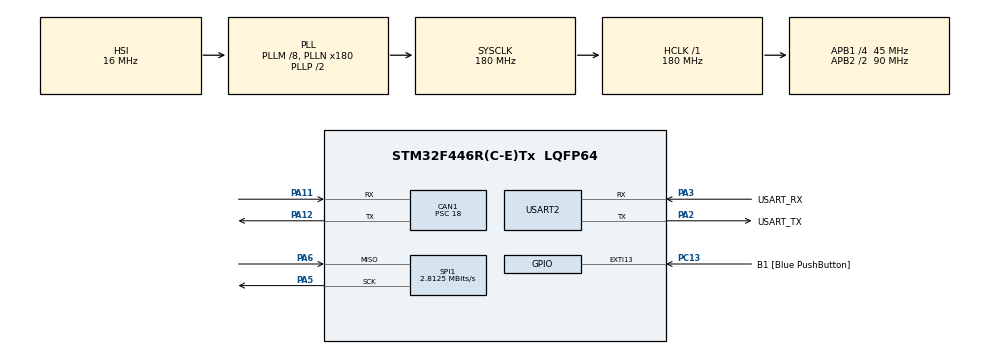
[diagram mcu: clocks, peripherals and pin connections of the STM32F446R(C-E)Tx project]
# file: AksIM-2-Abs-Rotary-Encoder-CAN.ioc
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CAN1.BS1=CAN_BS1_2TQ
CAN1.BS2=CAN_BS2_2TQ
CAN1.CalculateBaudRate=500000
CAN1.CalculateTimeBit=2000
CAN1.CalculateTimeQuantum=400.0
CAN1.Prescaler=18
Mcu.Family=STM32F4
Mcu.Name=STM32F446R(C-E)Tx
Mcu.Package=LQFP64
NVIC.CAN1_RX0_IRQn=true\:0\:0\:false\:false\:true\:true\:true
NVIC.PriorityGroup=NVIC_PRIORITYGROUP_0
NVIC.SPI1_IRQn=true\:0\:0\:false\:false\:true\:true\:true
NVIC.TIM2_IRQn=true\:0\:0\:false\:false\:true\:true\:true
NVIC.TIM3_IRQn=true\:0\:0\:false\:false\:true\:true\:true
NVIC.USART2_IRQn=true\:0\:0\:false\:false\:true\:true\:true
PA11.Mode=CAN_Activate
PA11.Signal=CAN1_RX
PA12.Mode=CAN_Activate
PA12.Signal=CAN1_TX
PA13.GPIO_Label=TMS
PA13.Signal=SYS_JTMS-SWDIO
PA14.GPIO_Label=TCK
PA14.Signal=SYS_JTCK-SWCLK
PA2.GPIO_Label=USART_TX
PA2.Mode=Asynchronous
PA2.Signal=USART2_TX
PA3.GPIO_Label=USART_RX
PA3.Mode=Asynchronous
PA3.Signal=USART2_RX
PA5.Mode=RX_Only_Simplex_Unidirect_Master
PA5.Signal=SPI1_SCK
PA6.Mode=RX_Only_Simplex_Unidirect_Master
PA6.Signal=SPI1_MISO
PB3.GPIO_Label=SWO
PB3.Signal=SYS_JTDO-SWO
PC13.GPIO_Label=B1 [Blue PushButton]
PC13.GPIO_ModeDefaultEXTI=GPIO_MODE_IT_FALLING
PC13.Signal=GPXTI13
PC14-OSC32_IN.Signal=RCC_OSC32_IN
PC15-OSC32_OUT.Signal=RCC_OSC32_OUT
PH0-OSC_IN.Signal=RCC_OSC_IN
PH1-OSC_OUT.Signal=RCC_OSC_OUT
ProjectManager.HeapSize=0x200
ProjectManager.StackSize=0x400
ProjectManager.TargetToolchain=Makefile
RCC.AHBFreq_Value=180000000
RCC.APB1CLKDivider=RCC_HCLK_DIV4
RCC.APB1Freq_Value=45000000
RCC.APB1TimFreq_Value=90000000
RCC.APB2CLKDivider=RCC_HCLK_DIV2
RCC.APB2Freq_Value=90000000
RCC.APB2TimFreq_Value=180000000
RCC.CortexFreq_Value=180000000
RCC.FLatency-AdvancedSettings=FLASH_LATENCY_5
RCC.HCLKFreq_Value=180000000
RCC.HSE_VALUE=8000000
RCC.HSI_VALUE=16000000
RCC.LSE_VALUE=32768
RCC.PLLM=8
RCC.PLLN=180
RCC.SYSCLKFreq_VALUE=180000000
RCC.SYSCLKSource=RCC_SYSCLKSOURCE_PLLCLK
RCC.USBFreq_Value=180000000
RCC.VCOOutputFreq_Value=360000000
SPI1.BaudRatePrescaler=SPI_BAUDRATEPRESCALER_32
SPI1.CLKPhase=SPI_PHASE_2EDGE
SPI1.CLKPolarity=SPI_POLARITY_HIGH
SPI1.CalculateBaudRate=2.8125 MBits/s
SPI1.Direction=SPI_DIRECTION_2LINES_RXONLY
SPI1.Mode=SPI_MODE_MASTER
SPI1.VirtualType=VM_MASTER
TIM2.Period=200-1
TIM2.Prescaler=8000-1
TIM3.Period=5000-1
TIM3.Prescaler=9000-1
USART2.Parity=PARITY_EVEN
USART2.VirtualMode=VM_ASYNC
VP_TIM2_VS_ClockSourceINT.Mode=Internal
VP_TIM3_VS_ClockSourceINT.Mode=Internal
board=NUCLEO-F446RE

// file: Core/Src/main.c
/* USER CODE BEGIN Header */
/**
  ******************************************************************************
  * @file           : main.c
  * @brief          : Main program body
  ******************************************************************************
  * @attention
  *
  * Copyright (c) 2023 STMicroelectronics.
  * All rights reserved.
  *
  * This software is licensed under terms that can be found in the LICENSE file
  * in the root directory of this software component.
  * If no LICENSE file comes with this software, it is provided AS-IS.
  *
  ******************************************************************************
  */
/* USER CODE END Header */
#include "main.h"

/* USER CODE BEGIN Includes */
#include <stdio.h>
/* USER CODE END Includes */

CAN_HandleTypeDef hcan1;

SPI_HandleTypeDef hspi1;

TIM_HandleTypeDef htim2;
TIM_HandleTypeDef htim3;

UART_HandleTypeDef huart2;

void SystemClock_Config(void);
static void MX_GPIO_Init(void);
static void MX_SPI1_Init(void);
static void MX_USART2_UART_Init(void);
static void MX_TIM2_Init(void);
static void MX_CAN1_Init(void);
static void MX_TIM3_Init(void);

/* USER CODE BEGIN 0 */
// CAN
CAN_TxHeaderTypeDef TxHeader;
CAN_RxHeaderTypeDef RxHeader;

uint8_t TxDataCAN[8];
uint8_t RxDataCAN[8];

uint32_t TxMailbox;

// UART buffer
uint8_t buffer[50];

// Encoder
#define ENCODER_POS_LENGTH 18
#define RX_DATA_LENGTH 7
uint8_t RxData[RX_DATA_LENGTH];
uint8_t printBits = 0;
uint32_t encPosition = 0;
uint8_t encStatus = 0;
uint8_t encCRC = 0;
uint32_t CRCMessage;

uint8_t CRCErrorCount = 0;

uint8_t CRCTable[64] = { 0x00, 0x03, 0x06, 0x05, 0x0C, 0x0F, 0x0A, 0x09,
                            0x18, 0x1B, 0x1E, 0x1D, 0x14, 0x17, 0x12, 0x11,
                            0x30, 0x33, 0x36, 0x35, 0x3C, 0x3F, 0x3A, 0x39,
                            0x28, 0x2B, 0x2E, 0x2D, 0x24, 0x27, 0x22, 0x21,
                            0x23, 0x20, 0x25, 0x26, 0x2F, 0x2C, 0x29, 0x2A,
                            0x3B, 0x38, 0x3D, 0x3E, 0x37, 0x34, 0x31, 0x32,
                            0x13, 0x10, 0x15, 0x16, 0x1F, 0x1C, 0x19, 0x1A,
                            0x0B, 0x08, 0x0D, 0x0E, 0x07, 0x04, 0x01, 0x02
                            };

uint8_t calculateCRC(uint32_t data)
{
    uint8_t CRCValue = 0;
    uint32_t top = 0;

    // Unrolled version from RLS application note
    top = (data >> 30) & 0x00000003;
    CRCValue = (data >> 24) & 0x0000003F;
    top = CRCValue ^ CRCTable[top];
    CRCValue = (data >> 18) & 0x0000003F;
    top = CRCValue ^ CRCTable[top];
    CRCValue = (data >> 12) & 0x0000003F;
    top = CRCValue ^ CRCTable[top];
    CRCValue = (data >> 6) & 0x0000003F;
    top = CRCValue ^ CRCTable[top];
    CRCValue = data & 0x0000003F;
    top = CRCValue ^ CRCTable[top];
    CRCValue = CRCTable[top];

    return CRCTable[top];
}

void HAL_SPI_RxCpltCallback(SPI_HandleTypeDef *hspi)
{
  // Position data is stored in RxData indices 3-5, MSB first
  // The >> 6 (or - 6 for the <<'s) is to compensate for the result being aligned to bit 23 instead of bit 17
  // The + 1 accommodates for the data being shifted in the individual packets
  // This is an 18-bit encoder, so it should output values in [0, 2^18 - 1]
  encPosition = ((uint32_t) RxData[3]) << (16 + 1 - 6);
  encPosition += ((uint32_t) RxData[4]) << (8 + 1 - 6);
  // LSBs of position are stored in the upper three bits of RxData[5], so we mask out everything else
  encPosition += (RxData[5] & 0xE0) >> 5;

  encStatus = (RxData[5] & 0x18) >> 3;

  encCRC = (RxData[5] & 0x07) << 3;
  encCRC += (RxData[6] & 0xE0) >> 5;

  CRCMessage = (uint32_t)(encStatus) << 28;
  CRCMessage += encPosition;
  CRCMessage <<= 2;

  sprintf(buffer, "%0X %d 0x%02X 0x%0X %s %d\n", encPosition, encStatus, encCRC, calculateCRC(CRCMessage), (calculateCRC(CRCMessage) == encCRC) ? "CRC MATCHED" : "CRC MISMATCH", CRCErrorCount);
  if(HAL_UART_Transmit(&huart2, buffer, sizeof(buffer), 100) != HAL_OK)
  {
    Error_Handler();
  }
  if(printBits)
    {
      for(int i = 0; i < RX_DATA_LENGTH; i++)
      {
        // Print each bit of message received
        uint8_t mask = 0x80;
        for(int j = 0; j < 8; j++)
        {
          if(RxData[i] & mask)
          {
            if(HAL_UART_Transmit(&huart2, "1", 2, 100) != HAL_OK)
            {
              Error_Handler();
            }
          }
          else
          {
            if(HAL_UART_Transmit(&huart2, "0", 2, 100) != HAL_OK)
            {
              Error_Handler();
            }
          }

          // Space into groups of 4 bits
          if(j % 4 == 3)
          {
            if(HAL_UART_Transmit(&huart2, " ", 2, 100) != HAL_OK)
            {
              Error_Handler();
            }
          }

          mask = mask >> 1;
        }

        if(HAL_UART_Transmit(&huart2, " | ", 4, 100) != HAL_OK)
        {
          Error_Handler();
        }
      }

      if(HAL_UART_Transmit(&huart2, "\n", 2, 100) != HAL_OK)
      {
        Error_Handler();
      }
    }
}

void HAL_CAN_RxFifo0MsgPendingCallback(CAN_HandleTypeDef *hcan)
{
  HAL_CAN_GetRxMessage(&hcan1, CAN_RX_FIFO0, &RxHeader, RxDataCAN);
  if(RxHeader.DLC == 4)
  {
    uint32_t positionRx = 0;
    uint8_t crcPassed = 0;

    // Upper nibble contains CRC flag, so we mask it out
    positionRx = ((uint32_t) (RxDataCAN[0]) & 0x0F) << 16;
    positionRx += ((uint32_t) RxDataCAN[1]) << 8;
    positionRx += RxDataCAN[2];

    crcPassed = RxDataCAN[0] & 0x10;

    // sprintf(buffer, "Message from other MCU: %d %d %d\n", RxDataCAN[0], RxDataCAN[1], RxDataCAN[2]);
    sprintf(buffer, "%d degrees (%d) %s (%d total)\n", (positionRx * 360) / 262144, positionRx, crcPassed ? "Data OK" : "Data invalid!", RxDataCAN[3]);
    if(HAL_UART_Transmit(&huart2, buffer, sizeof(buffer), 100) != HAL_OK)
    {
      Error_Handler();
    }
  }
}

void HAL_TIM_PeriodElapsedCallback(TIM_HandleTypeDef *htim)
{
  if(htim == &htim2)
  {
      HAL_SPI_Receive_IT(&hspi1, &RxData[0], RX_DATA_LENGTH);
  }
  else if(htim == &htim3)
  {
      // Split encoder position into discrete bytes
      TxDataCAN[0] = (encPosition >> 16) & 0x0003;
      TxDataCAN[1] = (encPosition >> 8) & 0x00FF;
      TxDataCAN[2] = encPosition & 0x00FF;

      // CRC check passed?
      if(calculateCRC(CRCMessage) == encCRC)
      {
        TxDataCAN[0] |= 0x10;
      }
      else
      {
        TxDataCAN[0] &= ~(0x10);
        CRCErrorCount++;
      }

      TxDataCAN[3] = CRCErrorCount;

      HAL_CAN_AddTxMessage(&hcan1, &TxHeader, TxDataCAN, &TxMailbox);
  }
}

/* USER CODE END 0 */

int main(void)
{

  /* MCU Configuration--------------------------------------------------------*/

  /* Reset of all peripherals, Initializes the Flash interface and the Systick. */
  HAL_Init();

  /* Configure the system clock */
  SystemClock_Config();

  /* Initialize all configured peripherals */
  MX_GPIO_Init();
  MX_SPI1_Init();
  MX_USART2_UART_Init();
  MX_TIM2_Init();
  MX_CAN1_Init();
  MX_TIM3_Init();
  /* USER CODE BEGIN 2 */

  HAL_TIM_Base_Start_IT(&htim2);
  HAL_TIM_Base_Start_IT(&htim3);

  HAL_CAN_Start(&hcan1);
  HAL_CAN_ActivateNotification(&hcan1, CAN_IT_RX_FIFO0_MSG_PENDING);

  // 2 bytes
  TxHeader.DLC = 4;
  TxHeader.IDE = CAN_ID_STD;  // Standard CAN ID
  TxHeader.RTR = CAN_RTR_DATA;  // Specify that the packet contains data
  // TxHeader.StdId = 0x103; // ID of transmitter
  TxHeader.StdId = 0x446; // ID of transmitter
  /* USER CODE END 2 */

  /* Infinite loop */
  while (1)
  {

  }
}

void SystemClock_Config(void)
{
  RCC_OscInitTypeDef RCC_OscInitStruct = {0};
  RCC_ClkInitTypeDef RCC_ClkInitStruct = {0};

  /** Configure the main internal regulator output voltage
  */
  __HAL_RCC_PWR_CLK_ENABLE();
  __HAL_PWR_VOLTAGESCALING_CONFIG(PWR_REGULATOR_VOLTAGE_SCALE1);
  /** Initializes the RCC Oscillators according to the specified parameters
  * in the RCC_OscInitTypeDef structure.
  */
  RCC_OscInitStruct.OscillatorType = RCC_OSCILLATORTYPE_HSI;
  RCC_OscInitStruct.HSIState = RCC_HSI_ON;
  RCC_OscInitStruct.HSICalibrationValue = RCC_HSICALIBRATION_DEFAULT;
  RCC_OscInitStruct.PLL.PLLState = RCC_PLL_ON;
  RCC_OscInitStruct.PLL.PLLSource = RCC_PLLSOURCE_HSI;
  RCC_OscInitStruct.PLL.PLLM = 8;
  RCC_OscInitStruct.PLL.PLLN = 180;
  RCC_OscInitStruct.PLL.PLLP = RCC_PLLP_DIV2;
  RCC_OscInitStruct.PLL.PLLQ = 2;
  RCC_OscInitStruct.PLL.PLLR = 2;
  if (HAL_RCC_OscConfig(&RCC_OscInitStruct) != HAL_OK)
  {
    Error_Handler();
  }
  /** Activate the Over-Drive mode
  */
  if (HAL_PWREx_EnableOverDrive() != HAL_OK)
  {
    Error_Handler();
  }
  /** Initializes the CPU, AHB and APB buses clocks
  */
  RCC_ClkInitStruct.ClockType = RCC_CLOCKTYPE_HCLK|RCC_CLOCKTYPE_SYSCLK
                              |RCC_CLOCKTYPE_PCLK1|RCC_CLOCKTYPE_PCLK2;
  RCC_ClkInitStruct.SYSCLKSource = RCC_SYSCLKSOURCE_PLLCLK;
  RCC_ClkInitStruct.AHBCLKDivider = RCC_SYSCLK_DIV1;
  RCC_ClkInitStruct.APB1CLKDivider = RCC_HCLK_DIV4;
  RCC_ClkInitStruct.APB2CLKDivider = RCC_HCLK_DIV2;

  if (HAL_RCC_ClockConfig(&RCC_ClkInitStruct, FLASH_LATENCY_5) != HAL_OK)
  {
    Error_Handler();
  }
}

static void MX_CAN1_Init(void)
{

  hcan1.Instance = CAN1;
  hcan1.Init.Prescaler = 18;
  hcan1.Init.Mode = CAN_MODE_NORMAL;
  hcan1.Init.SyncJumpWidth = CAN_SJW_1TQ;
  hcan1.Init.TimeSeg1 = CAN_BS1_2TQ;
  hcan1.Init.TimeSeg2 = CAN_BS2_2TQ;
  hcan1.Init.TimeTriggeredMode = DISABLE;
  hcan1.Init.AutoBusOff = DISABLE;
  hcan1.Init.AutoWakeUp = DISABLE;
  hcan1.Init.AutoRetransmission = DISABLE;
  hcan1.Init.ReceiveFifoLocked = DISABLE;
  hcan1.Init.TransmitFifoPriority = DISABLE;
  if (HAL_CAN_Init(&hcan1) != HAL_OK)
  {
    Error_Handler();
  }
  /* USER CODE BEGIN CAN1_Init 2 */
  CAN_FilterTypeDef canFilterConfig;

  canFilterConfig.FilterActivation = CAN_FILTER_ENABLE;
  canFilterConfig.FilterBank = 18;
  canFilterConfig.FilterFIFOAssignment = CAN_FilterFIFO0;
  // canFilterConfig.FilterIdHigh = 0x446 << 5;
  canFilterConfig.FilterIdHigh = 0x103 << 5;
  canFilterConfig.FilterIdLow = 0;
  // canFilterConfig.FilterMaskIdHigh = 0x446 << 5;
  canFilterConfig.FilterMaskIdHigh = 0x103 << 5;
  canFilterConfig.FilterMaskIdLow = 0x0000;
  canFilterConfig.FilterMode = CAN_FILTERMODE_IDMASK;
  canFilterConfig.FilterScale = CAN_FILTERSCALE_32BIT;
  canFilterConfig.SlaveStartFilterBank = 20;

  HAL_CAN_ConfigFilter(&hcan1, &canFilterConfig);
  /* USER CODE END CAN1_Init 2 */

}

static void MX_SPI1_Init(void)
{

  /* SPI1 parameter configuration*/
  hspi1.Instance = SPI1;
  hspi1.Init.Mode = SPI_MODE_MASTER;
  hspi1.Init.Direction = SPI_DIRECTION_2LINES_RXONLY;
  hspi1.Init.DataSize = SPI_DATASIZE_8BIT;
  hspi1.Init.CLKPolarity = SPI_POLARITY_HIGH;
  hspi1.Init.CLKPhase = SPI_PHASE_2EDGE;
  hspi1.Init.NSS = SPI_NSS_SOFT;
  hspi1.Init.BaudRatePrescaler = SPI_BAUDRATEPRESCALER_32;
  hspi1.Init.FirstBit = SPI_FIRSTBIT_MSB;
  hspi1.Init.TIMode = SPI_TIMODE_DISABLE;
  hspi1.Init.CRCCalculation = SPI_CRCCALCULATION_DISABLE;
  hspi1.Init.CRCPolynomial = 10;
  if (HAL_SPI_Init(&hspi1) != HAL_OK)
  {
    Error_Handler();
  }

}

static void MX_TIM2_Init(void)
{

  TIM_ClockConfigTypeDef sClockSourceConfig = {0};
  TIM_MasterConfigTypeDef sMasterConfig = {0};

  htim2.Instance = TIM2;
  htim2.Init.Prescaler = 8000-1;
  htim2.Init.CounterMode = TIM_COUNTERMODE_UP;
  htim2.Init.Period = 200-1;
  htim2.Init.ClockDivision = TIM_CLOCKDIVISION_DIV1;
  htim2.Init.AutoReloadPreload = TIM_AUTORELOAD_PRELOAD_DISABLE;
  if (HAL_TIM_Base_Init(&htim2) != HAL_OK)
  {
    Error_Handler();
  }
  sClockSourceConfig.ClockSource = TIM_CLOCKSOURCE_INTERNAL;
  if (HAL_TIM_ConfigClockSource(&htim2, &sClockSourceConfig) != HAL_OK)
  {
    Error_Handler();
  }
  sMasterConfig.MasterOutputTrigger = TIM_TRGO_RESET;
  sMasterConfig.MasterSlaveMode = TIM_MASTERSLAVEMODE_DISABLE;
  if (HAL_TIMEx_MasterConfigSynchronization(&htim2, &sMasterConfig) != HAL_OK)
  {
    Error_Handler();
  }

}

static void MX_TIM3_Init(void)
{

  TIM_ClockConfigTypeDef sClockSourceConfig = {0};
  TIM_MasterConfigTypeDef sMasterConfig = {0};

  htim3.Instance = TIM3;
  htim3.Init.Prescaler = 9000-1;
  htim3.Init.CounterMode = TIM_COUNTERMODE_UP;
  htim3.Init.Period = 5000-1;
  htim3.Init.ClockDivision = TIM_CLOCKDIVISION_DIV1;
  htim3.Init.AutoReloadPreload = TIM_AUTORELOAD_PRELOAD_DISABLE;
  if (HAL_TIM_Base_Init(&htim3) != HAL_OK)
  {
    Error_Handler();
  }
  sClockSourceConfig.ClockSource = TIM_CLOCKSOURCE_INTERNAL;
  if (HAL_TIM_ConfigClockSource(&htim3, &sClockSourceConfig) != HAL_OK)
  {
    Error_Handler();
  }
  sMasterConfig.MasterOutputTrigger = TIM_TRGO_RESET;
  sMasterConfig.MasterSlaveMode = TIM_MASTERSLAVEMODE_DISABLE;
  if (HAL_TIMEx_MasterConfigSynchronization(&htim3, &sMasterConfig) != HAL_OK)
  {
    Error_Handler();
  }

}

static void MX_USART2_UART_Init(void)
{

  huart2.Instance = USART2;
  huart2.Init.BaudRate = 115200;
  huart2.Init.WordLength = UART_WORDLENGTH_8B;
  huart2.Init.StopBits = UART_STOPBITS_1;
  huart2.Init.Parity = UART_PARITY_EVEN;
  huart2.Init.Mode = UART_MODE_TX_RX;
  huart2.Init.HwFlowCtl = UART_HWCONTROL_NONE;
  huart2.Init.OverSampling = UART_OVERSAMPLING_16;
  if (HAL_UART_Init(&huart2) != HAL_OK)
  {
    Error_Handler();
  }

}

static void MX_GPIO_Init(void)
{
  GPIO_InitTypeDef GPIO_InitStruct = {0};

  /* GPIO Ports Clock Enable */
  __HAL_RCC_GPIOC_CLK_ENABLE();
  __HAL_RCC_GPIOH_CLK_ENABLE();
  __HAL_RCC_GPIOA_CLK_ENABLE();
  __HAL_RCC_GPIOB_CLK_ENABLE();

  /*Configure GPIO pin : B1_Pin */
  GPIO_InitStruct.Pin = B1_Pin;
  GPIO_InitStruct.Mode = GPIO_MODE_IT_FALLING;
  GPIO_InitStruct.Pull = GPIO_NOPULL;
  HAL_GPIO_Init(B1_GPIO_Port, &GPIO_InitStruct);

}

void Error_Handler(void)
{
  __disable_irq();
  while (1)
  {
  }
}
